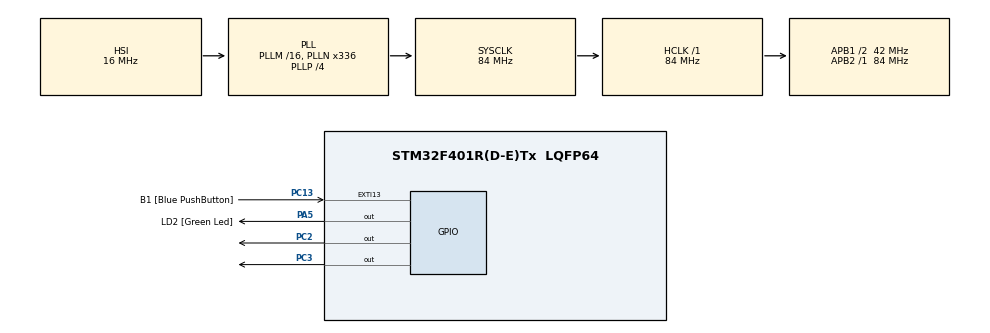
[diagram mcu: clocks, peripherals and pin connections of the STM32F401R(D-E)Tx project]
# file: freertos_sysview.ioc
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Mcu.Family=STM32F4
Mcu.Name=STM32F401R(D-E)Tx
Mcu.Package=LQFP64
NVIC.EXTI15_10_IRQn=true\:6\:0\:true\:false\:true\:true\:true\:true
NVIC.PriorityGroup=NVIC_PRIORITYGROUP_4
NVIC.TIM2_IRQn=true\:15\:0\:true\:false\:true\:false\:true\:true
NVIC.TimeBase=TIM2_IRQn
NVIC.TimeBaseIP=TIM2
PA13.GPIO_Label=TMS
PA13.Mode=Trace_Asynchronous_SW
PA13.Signal=SYS_JTMS-SWDIO
PA14.GPIO_Label=TCK
PA14.Mode=Trace_Asynchronous_SW
PA14.Signal=SYS_JTCK-SWCLK
PA5.GPIO_Label=LD2 [Green Led]
PA5.GPIO_Mode=GPIO_MODE_OUTPUT_PP
PA5.GPIO_PuPd=GPIO_NOPULL
PA5.GPIO_Speed=GPIO_SPEED_FREQ_LOW
PA5.Signal=GPIO_Output
PB3.GPIO_Label=SWO
PB3.Mode=Trace_Asynchronous_SW
PB3.Signal=SYS_JTDO-SWO
PC13-ANTI_TAMP.GPIO_Label=B1 [Blue PushButton]
PC13-ANTI_TAMP.GPIO_ModeDefaultEXTI=GPIO_MODE_IT_FALLING
PC13-ANTI_TAMP.GPIO_PuPd=GPIO_NOPULL
PC13-ANTI_TAMP.Signal=GPXTI13
PC14-OSC32_IN.Mode=LSE-External-Oscillator
PC14-OSC32_IN.Signal=RCC_OSC32_IN
PC15-OSC32_OUT.Mode=LSE-External-Oscillator
PC15-OSC32_OUT.Signal=RCC_OSC32_OUT
PC2.Signal=GPIO_Output
PC3.Signal=GPIO_Output
PH0\ -\ OSC_IN.Mode=HSE-External-Clock-Source
PH0\ -\ OSC_IN.Signal=RCC_OSC_IN
PH1\ -\ OSC_OUT.Mode=HSE-External-Clock-Source
PH1\ -\ OSC_OUT.Signal=RCC_OSC_OUT
ProjectManager.HeapSize=0x200
ProjectManager.StackSize=0x400
ProjectManager.TargetToolchain=CMake
RCC.48MHZClocksFreq_Value=48000000
RCC.AHBFreq_Value=84000000
RCC.APB1CLKDivider=RCC_HCLK_DIV2
RCC.APB1Freq_Value=42000000
RCC.APB1TimFreq_Value=84000000
RCC.APB2Freq_Value=84000000
RCC.APB2TimFreq_Value=84000000
RCC.CortexFreq_Value=84000000
RCC.HCLKFreq_Value=84000000
RCC.HSE_VALUE=8000000
RCC.HSI_VALUE=16000000
RCC.PLLN=336
RCC.PLLP=RCC_PLLP_DIV4
RCC.PLLQ=7
RCC.SYSCLKFreq_VALUE=84000000
RCC.SYSCLKSource=RCC_SYSCLKSOURCE_PLLCLK
RCC.VCOOutputFreq_Value=336000000
VP_SYS_VS_tim2.Mode=TIM2
board=NUCLEO-F401RE

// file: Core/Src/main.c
/* USER CODE BEGIN Header */
/**
  ******************************************************************************
  * @file           : main.c
  * @brief          : Main program body
  ******************************************************************************
  * @attention
  *
  * Copyright (c) 2025 STMicroelectronics.
  * All rights reserved.
  *
  * This software is licensed under terms that can be found in the LICENSE file
  * in the root directory of this software component.
  * If no LICENSE file comes with this software, it is provided AS-IS.
  *
  ******************************************************************************
  */
/* USER CODE END Header */
#include "main.h"

/* USER CODE BEGIN Includes */
#include "FreeRTOS.h"
#include "task.h"
#include "timers.h"
#include "semphr.h"
#include <stdlib.h>
#include <stdio.h>
/* USER CODE END Includes */

/* USER CODE BEGIN PD */
#define ULONG_MAX   0xFFFFFFFF
#define DWT_CTRL    (*(volatile uint32_t*)0xE0001000)
/* USER CODE END PD */

/* USER CODE BEGIN PV */
TaskHandle_t handle_1 = NULL;
SemaphoreHandle_t xSemaphore;
char msg[100]={0};
/* USER CODE END PV */

void SystemClock_Config(void);
static void MX_GPIO_Init(void);
/* USER CODE BEGIN PFP */
extern  void SEGGER_UART_init(uint32_t);
void task_1( void * pvParameters);
/* USER CODE END PFP */

int main(void)
{

  /* MCU Configuration--------------------------------------------------------*/

  /* Reset of all peripherals, Initializes the Flash interface and the Systick. */
  HAL_Init();

  /* Configure the system clock */
  SystemClock_Config();

  /* Initialize all configured peripherals */
  MX_GPIO_Init();
  /* USER CODE BEGIN 2 */
  UBaseType_t priority_task1 = 3;

  DWT_CTRL |= ( 1 << 0);

  SEGGER_UART_init(250000);
  SEGGER_SYSVIEW_Conf();

  xSemaphore = xSemaphoreCreateCounting(5,0);
  xTaskCreate(task_1,"task1",256,(void*)1,priority_task1,&handle_1);
  vTaskStartScheduler();
  /* USER CODE END 2 */

  /* Infinite loop */
  while (1)
  {

  }
}

void SystemClock_Config(void)
{
  RCC_OscInitTypeDef RCC_OscInitStruct = {0};
  RCC_ClkInitTypeDef RCC_ClkInitStruct = {0};

  /** Configure the main internal regulator output voltage
  */
  __HAL_RCC_PWR_CLK_ENABLE();
  __HAL_PWR_VOLTAGESCALING_CONFIG(PWR_REGULATOR_VOLTAGE_SCALE2);

  /** Initializes the RCC Oscillators according to the specified parameters
  * in the RCC_OscInitTypeDef structure.
  */
  RCC_OscInitStruct.OscillatorType = RCC_OSCILLATORTYPE_HSI;
  RCC_OscInitStruct.HSIState = RCC_HSI_ON;
  RCC_OscInitStruct.HSICalibrationValue = RCC_HSICALIBRATION_DEFAULT;
  RCC_OscInitStruct.PLL.PLLState = RCC_PLL_ON;
  RCC_OscInitStruct.PLL.PLLSource = RCC_PLLSOURCE_HSI;
  RCC_OscInitStruct.PLL.PLLM = 16;
  RCC_OscInitStruct.PLL.PLLN = 336;
  RCC_OscInitStruct.PLL.PLLP = RCC_PLLP_DIV4;
  RCC_OscInitStruct.PLL.PLLQ = 7;
  if (HAL_RCC_OscConfig(&RCC_OscInitStruct) != HAL_OK)
  {
    Error_Handler();
  }

  /** Initializes the CPU, AHB and APB buses clocks
  */
  RCC_ClkInitStruct.ClockType = RCC_CLOCKTYPE_HCLK|RCC_CLOCKTYPE_SYSCLK
                              |RCC_CLOCKTYPE_PCLK1|RCC_CLOCKTYPE_PCLK2;
  RCC_ClkInitStruct.SYSCLKSource = RCC_SYSCLKSOURCE_PLLCLK;
  RCC_ClkInitStruct.AHBCLKDivider = RCC_SYSCLK_DIV1;
  RCC_ClkInitStruct.APB1CLKDivider = RCC_HCLK_DIV2;
  RCC_ClkInitStruct.APB2CLKDivider = RCC_HCLK_DIV1;

  if (HAL_RCC_ClockConfig(&RCC_ClkInitStruct, FLASH_LATENCY_2) != HAL_OK)
  {
    Error_Handler();
  }
}

static void MX_GPIO_Init(void)
{
  GPIO_InitTypeDef GPIO_InitStruct = {0};

  /* GPIO Ports Clock Enable */
  __HAL_RCC_GPIOC_CLK_ENABLE();
  __HAL_RCC_GPIOH_CLK_ENABLE();
  __HAL_RCC_GPIOA_CLK_ENABLE();
  __HAL_RCC_GPIOB_CLK_ENABLE();

  /*Configure GPIO pin Output Level */
  HAL_GPIO_WritePin(GPIOC, GPIO_PIN_2|GPIO_PIN_3, GPIO_PIN_RESET);

  /*Configure GPIO pin Output Level */
  HAL_GPIO_WritePin(LD2_GPIO_Port, LD2_Pin, GPIO_PIN_RESET);

  /*Configure GPIO pin : B1_Pin */
  GPIO_InitStruct.Pin = B1_Pin;
  GPIO_InitStruct.Mode = GPIO_MODE_IT_FALLING;
  GPIO_InitStruct.Pull = GPIO_NOPULL;
  HAL_GPIO_Init(B1_GPIO_Port, &GPIO_InitStruct);

  /*Configure GPIO pins : PC2 PC3 */
  GPIO_InitStruct.Pin = GPIO_PIN_2|GPIO_PIN_3;
  GPIO_InitStruct.Mode = GPIO_MODE_OUTPUT_PP;
  GPIO_InitStruct.Pull = GPIO_NOPULL;
  GPIO_InitStruct.Speed = GPIO_SPEED_FREQ_LOW;
  HAL_GPIO_Init(GPIOC, &GPIO_InitStruct);

  /*Configure GPIO pin : LD2_Pin */
  GPIO_InitStruct.Pin = LD2_Pin;
  GPIO_InitStruct.Mode = GPIO_MODE_OUTPUT_PP;
  GPIO_InitStruct.Pull = GPIO_NOPULL;
  GPIO_InitStruct.Speed = GPIO_SPEED_FREQ_LOW;
  HAL_GPIO_Init(LD2_GPIO_Port, &GPIO_InitStruct);

  /* EXTI interrupt init*/
  HAL_NVIC_SetPriority(EXTI15_10_IRQn, 6, 0);
  HAL_NVIC_EnableIRQ(EXTI15_10_IRQn);

}

/* USER CODE BEGIN 4 */
void IRQ_handle()
{
  traceISR_ENTER();
  BaseType_t xHigherPriorityTaskWoken = pdFALSE;
  SEGGER_SYSVIEW_PrintfTarget("IRQ");
  xSemaphoreGiveFromISR( xSemaphore, &xHigherPriorityTaskWoken );
  xSemaphoreGiveFromISR( xSemaphore, &xHigherPriorityTaskWoken );
  xSemaphoreGiveFromISR( xSemaphore, &xHigherPriorityTaskWoken );
  portYIELD_FROM_ISR( xHigherPriorityTaskWoken );
  traceISR_EXIT();

}

void task_1( void * pvParameters){

configASSERT( ( ( uint32_t ) pvParameters ) == 1 );
const char* string = " task_1\n";

  while(1){

    SEGGER_SYSVIEW_PrintfTarget(string);
    xSemaphoreTake( xSemaphore, portMAX_DELAY );
    sprintf(msg,"processing counting semaphore");
    SEGGER_SYSVIEW_PrintfTarget(msg);
  }
}

/* USER CODE END 4 */

void HAL_TIM_PeriodElapsedCallback(TIM_HandleTypeDef *htim)
{
  if (htim->Instance == TIM2)
  {
    HAL_IncTick();
  }
}

void Error_Handler(void)
{
  __disable_irq();
  while (1)
  {
  }
}
